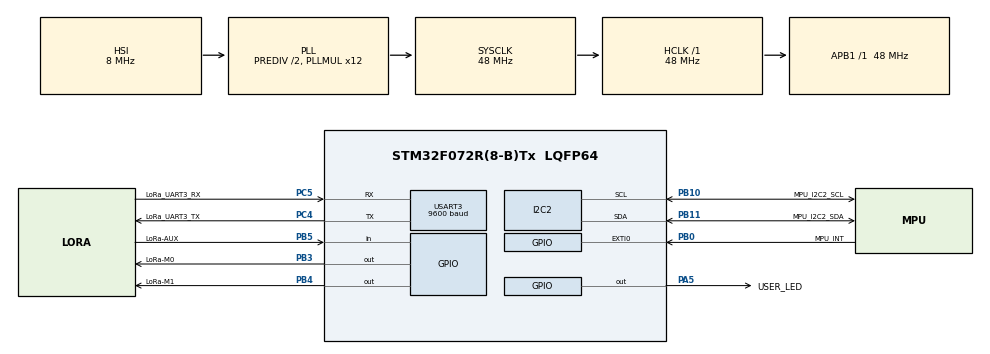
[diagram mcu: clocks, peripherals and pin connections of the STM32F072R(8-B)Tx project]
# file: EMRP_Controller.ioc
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I2C2.Timing=0x20303E5D
Mcu.Family=STM32F0
Mcu.Name=STM32F072R(8-B)Tx
Mcu.Package=LQFP64
PA5.GPIO_Label=USER_LED
PA5.Signal=GPIO_Output
PB0.GPIO_Label=MPU_INT
PB0.Signal=GPXTI0
PB10.GPIO_Label=MPU_I2C2_SCL
PB10.Mode=I2C
PB10.Signal=I2C2_SCL
PB11.GPIO_Label=MPU_I2C2_SDA
PB11.Mode=I2C
PB11.Signal=I2C2_SDA
PB3.GPIO_Label=LoRa-M0
PB3.Signal=GPIO_Output
PB4.GPIO_Label=LoRa-M1
PB4.Signal=GPIO_Output
PB5.GPIO_Label=LoRa-AUX
PB5.Signal=GPIO_Input
PC4.GPIO_Label=LoRa_UART3_TX
PC4.Mode=Asynchronous
PC4.Signal=USART3_TX
PC5.GPIO_Label=LoRa_UART3_RX
PC5.Mode=Asynchronous
PC5.Signal=USART3_RX
PF0-OSC_IN.Mode=HSE-External-Oscillator
PF0-OSC_IN.Signal=RCC_OSC_IN
PF1-OSC_OUT.Mode=HSE-External-Oscillator
PF1-OSC_OUT.Signal=RCC_OSC_OUT
ProjectManager.HeapSize=0x200
ProjectManager.StackSize=0x400
ProjectManager.TargetToolchain=STM32CubeIDE
RCC.AHBFreq_Value=48000000
RCC.APB1Freq_Value=48000000
RCC.APB1TimFreq_Value=48000000
RCC.FLatency-AdvancedSettings=FLASH_LATENCY_1
RCC.HCLKFreq_Value=48000000
RCC.PLLDivider=RCC_PREDIV_DIV2
RCC.PLLMUL=RCC_PLL_MUL12
RCC.SYSCLKFreq_VALUE=48000000
RCC.SYSCLKSource=RCC_SYSCLKSOURCE_PLLCLK
USART3.BaudRate=9600
USART3.VirtualMode-Asynchronous=VM_ASYNC
board=NUCLEO-F072RB

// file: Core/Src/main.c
/* USER CODE BEGIN Header */
/**
  ******************************************************************************
  * @file           : main.c - CONTROLLER
  * @brief          : Main program body
  ******************************************************************************
  * @attention
  *
  * Copyright (c) 2025 STMicroelectronics.
  * All rights reserved.
  *
  * This software is licensed under terms that can be found in the LICENSE file
  * in the root directory of this software component.
  * If no LICENSE file comes with this software, it is provided AS-IS.
  *
  ******************************************************************************
  */
/* USER CODE END Header */
#include "main.h"

UART_HandleTypeDef huart3;
I2C_HandleTypeDef hi2c2;

/* USER CODE BEGIN PV */
volatile uint8_t motion_pending = 0; //Generic motion indicator field for the waker and loop
/* USER CODE END PV */

static void enter_stop_mode(void); //Routine to sleep CPU
void SystemClock_Config(void);
static void MX_GPIO_Init(void);
static void MX_USART3_UART_Init(void);
static void MX_I2C2_Init(void);

/* USER CODE BEGIN 0 */

//Low-power waker callback
void HAL_GPIO_EXTI_Callback(uint16_t GPIO_Pin)
{
  if (GPIO_Pin == MPU_INT_Pin) { //PB0
    motion_pending = 1; //Set motion indicator
  }
}
/* USER CODE END 0 */

int main(void)
{

  /* USER CODE BEGIN 1 */
  uint8_t lora_params[8], tx_buf[LoRa_MAX_DATA_SIZE], rx_buf[64];
  uint32_t cur_tick;
  HAL_StatusTypeDef status;
  /* USER CODE END 1 */

  /* MCU Configuration--------------------------------------------------------*/

  /* Reset of all peripherals, Initializes the Flash interface and the Systick. */
  HAL_Init();

  /* Configure the system clock */
  SystemClock_Config();

  /* Initialize all configured peripherals */
  MX_GPIO_Init();
  MX_USART3_UART_Init();

  /* USER CODE BEGIN 2 */
  MX_I2C2_Init();
  memset(tx_buf, 0, LoRa_MAX_DATA_SIZE);
  memset(rx_buf, 0, 64);

  //Wait initially until the controller io transactions is available
  cur_tick = HAL_GetTick();
  while(((HAL_GetTick() - cur_tick) < 1000) && HAL_GPIO_ReadPin(GPIOB, LoRa_AUX_Pin) != GPIO_PIN_SET); //Wait until the AUX pin is set

  //If controller is busy and exceeds the timeout, blink the led then abort
  if(HAL_GPIO_ReadPin(GPIOB, LoRa_AUX_Pin) != GPIO_PIN_SET){
	  HAL_GPIO_WritePin(GPIOA, USER_LED_Pin, GPIO_PIN_SET);
	  Error_Handler();
  }
  else{
	  //Set the initial lora module mode [11 -> Sleep]
	  HAL_GPIO_WritePin(GPIOB, LoRa_M0_Pin, GPIO_PIN_SET); //M0
	  HAL_GPIO_WritePin(GPIOB, LoRa_M1_Pin, GPIO_PIN_SET); //M1
	  HAL_Delay(20);

	  //Wait until the controller is available
	  cur_tick = HAL_GetTick();
	  while(((HAL_GetTick() - cur_tick) < 100) && HAL_GPIO_ReadPin(GPIOB, GPIO_PIN_4) != GPIO_PIN_SET); //Wait until the AUX pin is set

	  //Clear buffer & send the initial option parameters
	  memset(lora_params, 0, 8);

	  //Save after shutdown (through command flash interface)
	  lora_params[0] = 0xC0;

	  //Broadcast transmission (NC address)
	  lora_params[1] = 0x00;
	  lora_params[2] = 0x00;

	  //UART PARITY: 8N1, BAUD: 9600bps, DATA RATE (SF): SF7 / 2.4k,
	  lora_params[3] = 0x1A; //0b00011010

	  //Channel settings: 868 MHz (862 + OFFSET->6)
	  lora_params[4] = 0x06;

	  //Options: Transparent Transmission, IO Push-Pull, Wireless wakeup: 250ms, FEC OFF, Power: 30 dBm
	  lora_params[5] = 0x40; //0b0100 0000;

	  //Send the option bytes (wait for the AUX pin after the transaction)
	  if((status = HAL_UART_Transmit(&huart3, lora_params, 6, 100)) == HAL_OK){
		  if((status = HAL_UART_Receive(&huart3, rx_buf, 6, 1000)) == HAL_OK){
			  HAL_Delay(50);
			  //Check if the params sent equal to the echo packet sent back
			  if(strncmp((const char*)rx_buf, (const char*)lora_params, 6) == 0){
				  //Set the normal mode and get ready for the operations
				  HAL_GPIO_WritePin(GPIOB, LoRa_M0_Pin, GPIO_PIN_RESET); //M0
				  HAL_GPIO_WritePin(GPIOB, LoRa_M1_Pin, GPIO_PIN_RESET); //M1
				  memset(rx_buf, 0, 64);
				  HAL_Delay(1);
				  int ret = mpu6050_init(&hi2c2);
				  if (ret != 0) Error_Handler();
				  HAL_Delay(1);
			  }
			  else{
				  HAL_GPIO_WritePin(GPIOA, USER_LED_Pin, GPIO_PIN_SET);
				  Error_Handler();
			  }
		  }
		  else{
			  HAL_GPIO_WritePin(GPIOA, USER_LED_Pin, GPIO_PIN_SET);
			  Error_Handler();
		  }
	  }
	  else{
		  HAL_GPIO_WritePin(GPIOA, USER_LED_Pin, GPIO_PIN_SET);
		  Error_Handler();
	  }
  }
  /* USER CODE END 2 */

  /* Infinite loop */
  /* USER CODE BEGIN WHILE */
  while (1)
  {
    /* USER CODE BEGIN 3 */
    // If there is no pending motion and no incoming request, go to STOP mode
    if (!motion_pending)
    {
      // Try to catch a request quickly; if none, sleep.
      if (HAL_UART_Receive(&huart3, rx_buf, 1, 50) != HAL_OK)
      {
        enter_stop_mode();
        continue; // after wake-up, loop again
      }
    }

    //Wait for the window request from the gateway and any motion
    if (HAL_UART_Receive(&huart3, rx_buf, 1, 500) == HAL_OK
    		&& rx_buf[0] == 0x01 && motion_pending)
    {
    	//Clear the motion flag
        motion_pending = 0;

        // Prepare response window, then send
        tx_buf[0] = 0x00;
        tx_buf[1] = 0x00;
        tx_buf[2] = 0x06;

        if (imu_send_window(&hi2c2, &huart3, tx_buf, LoRa_MAX_DATA_SIZE, 3, 96, 10) == 0)
        {
          HAL_GPIO_TogglePin(GPIOA, USER_LED_Pin);
        }
      }
      // After sending, go back to STOP quickly (next loop iteration will sleep)
    }
  /* USER CODE END 3 */
}

void SystemClock_Config(void)
{
  RCC_OscInitTypeDef RCC_OscInitStruct = {0};
  RCC_ClkInitTypeDef RCC_ClkInitStruct = {0};

  /** Initializes the RCC Oscillators according to the specified parameters
  * in the RCC_OscInitTypeDef structure.
  */
  RCC_OscInitStruct.OscillatorType = RCC_OSCILLATORTYPE_HSI;
  RCC_OscInitStruct.HSIState = RCC_HSI_ON;
  RCC_OscInitStruct.HSICalibrationValue = RCC_HSICALIBRATION_DEFAULT;
  RCC_OscInitStruct.PLL.PLLState = RCC_PLL_ON;
  RCC_OscInitStruct.PLL.PLLSource = RCC_PLLSOURCE_HSI;
  RCC_OscInitStruct.PLL.PLLMUL = RCC_PLL_MUL12;
  RCC_OscInitStruct.PLL.PREDIV = RCC_PREDIV_DIV2;
  if (HAL_RCC_OscConfig(&RCC_OscInitStruct) != HAL_OK)
  {
    Error_Handler();
  }

  /** Initializes the CPU, AHB and APB buses clocks
  */
  RCC_ClkInitStruct.ClockType = RCC_CLOCKTYPE_HCLK|RCC_CLOCKTYPE_SYSCLK
                              |RCC_CLOCKTYPE_PCLK1;
  RCC_ClkInitStruct.SYSCLKSource = RCC_SYSCLKSOURCE_PLLCLK;
  RCC_ClkInitStruct.AHBCLKDivider = RCC_SYSCLK_DIV1;
  RCC_ClkInitStruct.APB1CLKDivider = RCC_HCLK_DIV1;

  if (HAL_RCC_ClockConfig(&RCC_ClkInitStruct, FLASH_LATENCY_1) != HAL_OK)
  {
    Error_Handler();
  }
}

static void MX_USART3_UART_Init(void)
{

  huart3.Instance = USART3;
  huart3.Init.BaudRate = 9600;
  huart3.Init.WordLength = UART_WORDLENGTH_8B;
  huart3.Init.StopBits = UART_STOPBITS_1;
  huart3.Init.Parity = UART_PARITY_NONE;
  huart3.Init.Mode = UART_MODE_TX_RX;
  huart3.Init.HwFlowCtl = UART_HWCONTROL_NONE;
  huart3.Init.OverSampling = UART_OVERSAMPLING_16;
  huart3.Init.OneBitSampling = UART_ONE_BIT_SAMPLE_DISABLE;
  huart3.AdvancedInit.AdvFeatureInit = UART_ADVFEATURE_NO_INIT;
  if (HAL_UART_Init(&huart3) != HAL_OK)
  {
    Error_Handler();
  }
}

static void MX_GPIO_Init(void)
{
  GPIO_InitTypeDef GPIO_InitStruct = {0};

  /* GPIO Ports Clock Enable */
  __HAL_RCC_GPIOF_CLK_ENABLE();
  __HAL_RCC_GPIOA_CLK_ENABLE();
  __HAL_RCC_GPIOC_CLK_ENABLE();
  __HAL_RCC_GPIOB_CLK_ENABLE();

  /*Configure GPIO pin Output Level */
  HAL_GPIO_WritePin(USER_LED_GPIO_Port, USER_LED_Pin, GPIO_PIN_RESET);

  /*Configure GPIO pin Output Level */
  HAL_GPIO_WritePin(GPIOB, LoRa_M0_Pin|LoRa_M1_Pin, GPIO_PIN_RESET);

  /*Configure GPIO pin : USER_LED_Pin */
  GPIO_InitStruct.Pin = USER_LED_Pin;
  GPIO_InitStruct.Mode = GPIO_MODE_OUTPUT_PP;
  GPIO_InitStruct.Pull = GPIO_NOPULL;
  GPIO_InitStruct.Speed = GPIO_SPEED_FREQ_LOW;
  HAL_GPIO_Init(USER_LED_GPIO_Port, &GPIO_InitStruct);

  /*Configure GPIO pins : LoRa_M0_Pin LoRa_M1_Pin */
  GPIO_InitStruct.Pin = LoRa_M0_Pin|LoRa_M1_Pin;
  GPIO_InitStruct.Mode = GPIO_MODE_OUTPUT_PP;
  GPIO_InitStruct.Pull = GPIO_NOPULL;
  GPIO_InitStruct.Speed = GPIO_SPEED_FREQ_LOW;
  HAL_GPIO_Init(GPIOB, &GPIO_InitStruct);

  /*Configure GPIO pin : LoRa_AUX_Pin */
  GPIO_InitStruct.Pin = LoRa_AUX_Pin;
  GPIO_InitStruct.Mode = GPIO_MODE_INPUT;
  GPIO_InitStruct.Pull = GPIO_NOPULL;
  HAL_GPIO_Init(LoRa_AUX_GPIO_Port, &GPIO_InitStruct);

  /*Configure GPIO pin : MPU_INT_Pin */
  GPIO_InitStruct.Pin  = MPU_INT_Pin;
  GPIO_InitStruct.Mode = GPIO_MODE_IT_RISING;	//Rising-edge interrupt
  GPIO_InitStruct.Pull = GPIO_PULLDOWN;        	//IDLE low, PULSE high
  HAL_GPIO_Init(MPU_INT_Port, &GPIO_InitStruct);

  HAL_NVIC_SetPriority(EXTI0_1_IRQn, 1, 0);
  HAL_NVIC_EnableIRQ(EXTI0_1_IRQn);

}

/* USER CODE BEGIN 4 */
static void MX_I2C2_Init(void)
{
  hi2c2.Instance = I2C2;
  hi2c2.Init.Timing = 0x20303E5D;

  hi2c2.Init.OwnAddress1 = 0;
  hi2c2.Init.AddressingMode = I2C_ADDRESSINGMODE_7BIT;
  hi2c2.Init.DualAddressMode = I2C_DUALADDRESS_DISABLE;
  hi2c2.Init.OwnAddress2 = 0;
  hi2c2.Init.OwnAddress2Masks = I2C_OA2_NOMASK;
  hi2c2.Init.GeneralCallMode = I2C_GENERALCALL_DISABLE;
  hi2c2.Init.NoStretchMode = I2C_NOSTRETCH_DISABLE;

  if (HAL_I2C_Init(&hi2c2) != HAL_OK)
  {
    Error_Handler();
  }

  // Analog filter Configuration
  if (HAL_I2CEx_ConfigAnalogFilter(&hi2c2, I2C_ANALOGFILTER_ENABLE) != HAL_OK)
  {
    Error_Handler();
  }

  // Digital filter Configuration
  if (HAL_I2CEx_ConfigDigitalFilter(&hi2c2, 0) != HAL_OK)
  {
    Error_Handler();
  }
}

static void enter_stop_mode(void)
{
  // Clear pending EXTI to avoid immediate wake-up
  __HAL_GPIO_EXTI_CLEAR_IT(MPU_INT_Pin);

  HAL_SuspendTick();
  HAL_PWR_EnterSTOPMode(PWR_LOWPOWERREGULATOR_ON, PWR_STOPENTRY_WFI);
  HAL_ResumeTick();

  //After STOP, clocks must be restored
  SystemClock_Config();

  //Re enable the interfaces being used
  MX_USART3_UART_Init();
  MX_I2C2_Init();
}
/* USER CODE END 4 */

void Error_Handler(void)
{
  __disable_irq();
  while (1)
  {
  }
}
